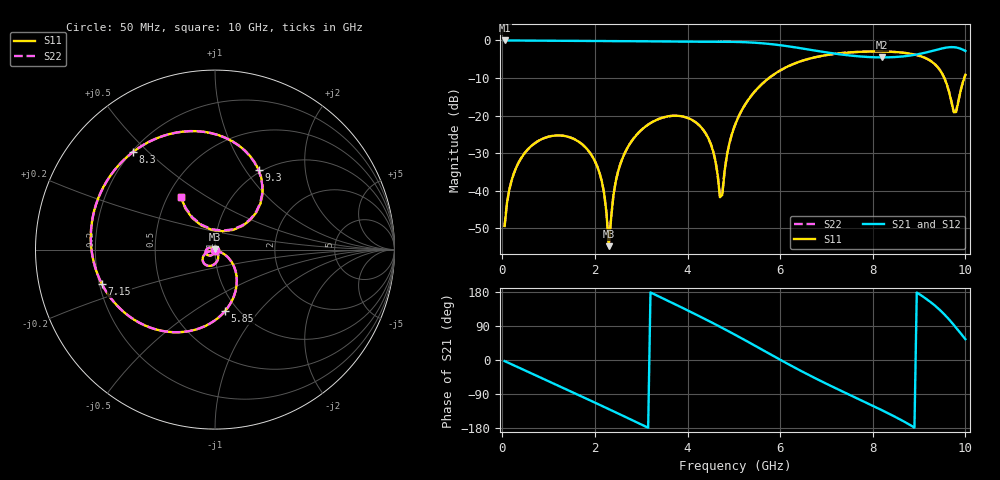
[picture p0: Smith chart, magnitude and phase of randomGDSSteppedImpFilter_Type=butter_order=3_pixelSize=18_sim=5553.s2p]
! freq	dB(S11)	phase(S11)	dB(S12)	phase(S12)
!  dB(S21)	phase(S21)	dB(S22)	phase(S22)
!S-par simulation data
#  GHz  S  DB  R 50
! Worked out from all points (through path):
!   200 points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, 50 MHz to 10 GHz, reference 50 ohm
!   highest |S21| = -0.01 dB at 50 MHz (marker M1); lowest = -4.5 dB at 8.2 GHz (marker M2)
!   group delay of S21, straight-line fit = 174 ps
!   lowest |S11| = -54.8 dB at 2.3 GHz (marker M3), VSWR 1.00, Z = 50.1 + j0.165 ohm
!   |S11| at or under -10 dB: start of sweep to 5.76 GHz; 9.545 GHz to 9.976 GHz (431.7 MHz wide, 4.42 % of centre)
!   |S22| runs from -54.2 to -2.9 dB; largest |S21 - S12| = 0
!   S11 on the Smith chart (normalised r, x): 50 MHz: 1.00, -0.01; 5.85 GHz: 0.87, -0.68; 7.15 GHz: 0.21, -0.14; 8.3 GHz: 0.20, +0.45; 9.3 GHz: 0.96, +1.15; 10 GHz: 0.59, +0.39
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0.05  -49.39 -90.9  -0.01 -2.9  -0.01 -2.9  -49.39 -90.9
0.2  -37.32 -100.0  -0.02 -11.3  -0.02 -11.3  -37.32 -100.0
0.55  -29.03 -120.6  -0.04 -30.9  -0.04 -30.9  -29.03 -120.6
1.75  -27.92 169.6  -0.12 -98.3  -0.12 -98.3  -27.92 169.5
2.15  -37.55 142.6  -0.14 -121.0  -0.14 -121.0  -37.54 142.0
2.3  -54.78 64.5  -0.15 -129.6  -0.15 -129.6  -54.21 63.4
2.4  -41.18 -36.2  -0.16 -135.3  -0.16 -135.3  -41.15 -35.1
2.6  -31.23 -54.1  -0.18 -146.9  -0.18 -146.9  -31.22 -53.7
3.4  -20.81 -102.2  -0.28 166.6  -0.28 166.6  -20.81 -102.0
4.35  -23.99 -155.7  -0.33 109.8  -0.33 109.8  -23.98 -155.3
4.55  -29.39 -162.8  -0.34 97.3  -0.34 97.3  -29.37 -162.0
4.7  -41.74 -130.3  -0.34 87.8  -0.34 87.8  -41.32 -128.2
5.05  -21.75 -30.4  -0.40 65.1  -0.40 65.1  -21.75 -30.7
5.85  -9.18 -80.8  -1.04 10.9  -1.04 10.9  -9.18 -80.9
6.7  -4.64 -135.9  -2.59 -44.5  -2.59 -44.5  -4.64 -136.0
7.15  -3.63 -163.1  -3.46 -71.6  -3.46 -71.6  -3.62 -163.1
8.2  -2.94 136.1  -4.52 -132.6  -4.52 -132.6  -2.94 136.1
8.3  -2.97 130.1  -4.51 -138.6  -4.51 -138.6  -2.97 130.2
8.35  -2.99 127.1  -4.49 -141.7  -4.49 -141.7  -2.99 127.2
9.3  -5.90 61.4  -2.74 147.8  -2.74 147.8  -5.90 61.6
9.75  -19.13 67.4  -1.80 92.4  -1.80 92.4  -18.89 68.0
10  -9.15 122.9  -2.80 55.0  -2.80 55.0  -9.12 122.4
